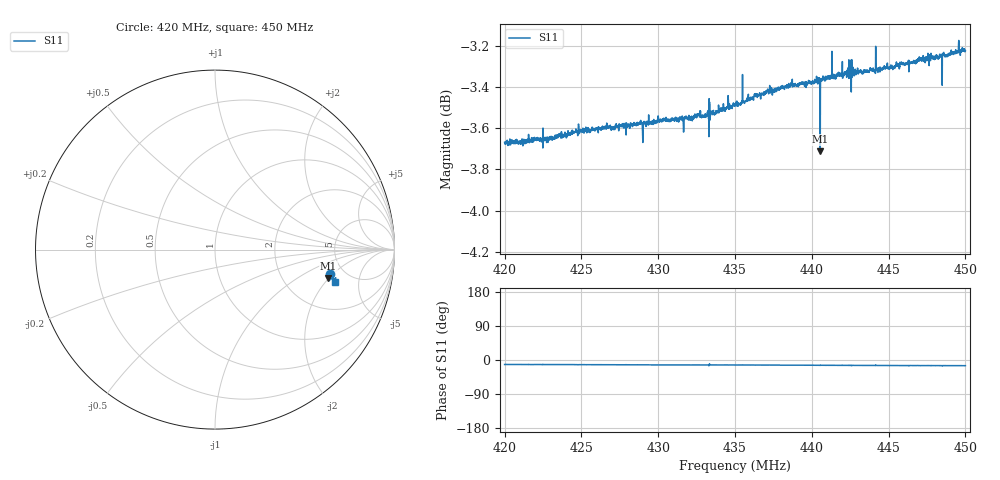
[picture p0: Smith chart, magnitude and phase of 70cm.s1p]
! Calibrated averaged scanner-service zoom
# Hz S RI R 50
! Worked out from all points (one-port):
!   3001 points, 420 MHz to 450 MHz, reference 50 ohm
!   lowest |S11| = -3.7 dB at 440.6 MHz (marker M1), VSWR 4.75, Z = 178 - j99.7 ohm
!   |S11| at or under -10 dB: nowhere
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4.2e8  0.6414 -0.1352
4.204e8  0.6423 -0.1338
4.2176e8  0.6429 -0.1367
4.2375e8  0.6426 -0.1375
4.275e8  0.6461 -0.1436
4.2911e8  0.6464 -0.1463
4.3125e8  0.6475 -0.1489
4.3312e8  0.648 -0.1507
4.3315e8  0.6482 -0.1512
4.3343e8  0.6495 -0.151
4.3349e8  0.6494 -0.1512
4.335e8  0.6494 -0.1509
4.3354e8  0.6486 -0.1504
4.35e8  0.6517 -0.1512
4.3737e8  0.6573 -0.1575
4.3875e8  0.6583 -0.16
4.4036e8  0.6583 -0.1629
4.4041e8  0.6584 -0.1627
4.4055e8  0.6322 -0.1606
4.4067e8  0.6589 -0.1632
4.4074e8  0.6598 -0.1631
4.4204e8  0.6595 -0.1675
4.425e8  0.6622 -0.1646
4.4267e8  0.6598 -0.166
4.4282e8  0.6619 -0.1681
4.4404e8  0.6611 -0.1697
4.4625e8  0.6634 -0.1728
4.5e8  0.6666 -0.1784
